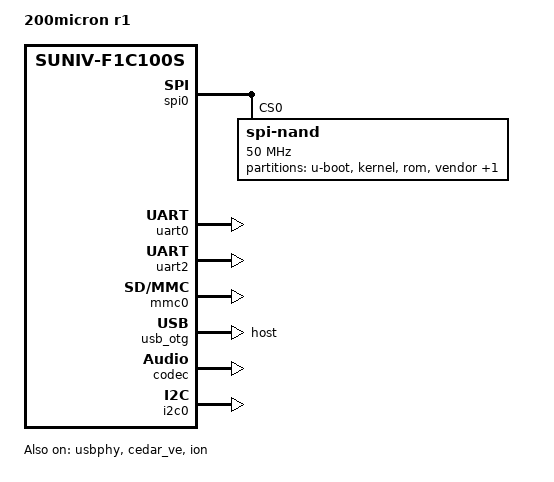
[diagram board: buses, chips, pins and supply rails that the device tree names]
// SPDX-License-Identifier: (GPL-2.0+ OR X11)

/dts-v1/;
#include "suniv-f1c100s.dtsi"

/ {
	model = "200micron r1";
	compatible = "allwinner,suniv-f1c200s",
			 "allwinner,suniv-f1c100s";

	aliases {
		serial0 = &uart0;
		serial1 = &uart2;
		spi0 = &spi0;
		i2c0 = &i2c0;
	};

	chosen {
		#address-cells = <1>;
		#size-cells = <1>;
		ranges;

		stdout-path = "serial0:115200n8";
		bootargs = "console=ttyS0,115200 rootwait init=/preinit root=/dev/mtdblock2 rootfstype=squashfs overlayfsdev=/dev/mtdblock3";

		simplefb_lcd: framebuffer-lcd0 {
			compatible = "allwinner,simple-framebuffer",
				     "simple-framebuffer";
			allwinner,pipeline = "de_be0-lcd0";
			clocks = <&ccu CLK_BUS_DE_BE>, <&ccu CLK_DE_BE>,
				 <&ccu CLK_DRAM_DE_BE>, <&ccu CLK_BUS_LCD>,
				 <&ccu CLK_TCON>;
			status = "disabled";
		};
	};
};

&spi0 {
	status = "okay";

	spi-nor@0 {
		#address-cells = <1>;
		#size-cells = <1>;
		compatible = "winbond,w25q128", "jedec,spi-nor";
		reg = <0>;
		spi-max-frequency = <50000000>;
		status = "disabled";

		partitions {
			compatible = "fixed-partitions";
			#address-cells = <1>;
			#size-cells = <1>;

			partition@0 {
				label = "u-boot";
				reg = <0x000000 0x70000>;
				read-only;
			};

			partition@1 {
				label = "kernel";
				reg = <0x70000 0x590000>;
				read-only;
			};

			partition@2 {
				label = "rom";
				reg = <0x600000 0x700000>;
				read-only;
			};

			partition@3 {
				label = "overlay";
				reg = <0xd00000 0x300000>;
			};
		};
	};

	spi-nand@0 {
		#address-cells = <1>;
		#size-cells = <1>;
		compatible = "spi-nand";
		reg = <0>;
		spi-max-frequency = <50000000>;
		partitions {
			compatible = "fixed-partitions";
			#address-cells = <1>;
			#size-cells = <1>;

			partition@0 {
				label = "u-boot";
				reg = <0x000000 0x100000>;
				read-only;
			};

			partition@1 {
				label = "kernel";
				reg = <0x100000 0x500000>;
				read-only;
			};

			partition@2 {
				label = "rom";
				reg = <0x600000 0x2a00000>;
				read-only;
			};

			partition@3 {
				label = "vendor";
				reg = <0x3000000 0x1000000>;
			};

			partition@4 {
				label = "overlay";
				reg = <0x4000000 0x3000000>;
			};
		};
	};
};

&uart0 {
	pinctrl-names = "default";
	pinctrl-0 = <&uart0_pe_pins>;
	status = "okay";
};

&uart2 {
	pinctrl-names = "default";
	pinctrl-0 = <&uart2_pe_pins>;
	status = "okay";
};

&pio {
    esp_reset_pin: esp_reset_pin@0 {
        pins = "PD11";
        function = "gpio_out";
    };
    
    esp_boot_pin: esp_boot_pin@0 {
        pins = "PD12";
        function = "gpio_out";
    };
};

&mmc0 {
	status = "okay";
	broken-cd;
};

&otg_sram {
	status = "okay";
};

&usb_otg {
	dr_mode = "host"; /* host or peripheral */
	status = "okay";
};

&usbphy {
	status = "okay";
};

&cedar_ve {
	status = "okay";
};

&ion {
	status = "okay";
};

&codec {
	allwinner,audio-routing =
		"Headphone", "HP",
		"Headphone", "HPCOM",
		"LINEIN", "Line In",
		"FMINL", "Left FM In",
		"FMINR", "Right FM In",
		"MIC", "Mic";
	status = "okay";
};

&i2c0 {
	pinctrl-names = "default";
	pinctrl-0 = <&i2c0_pd_pins>;
	status = "okay";
};
